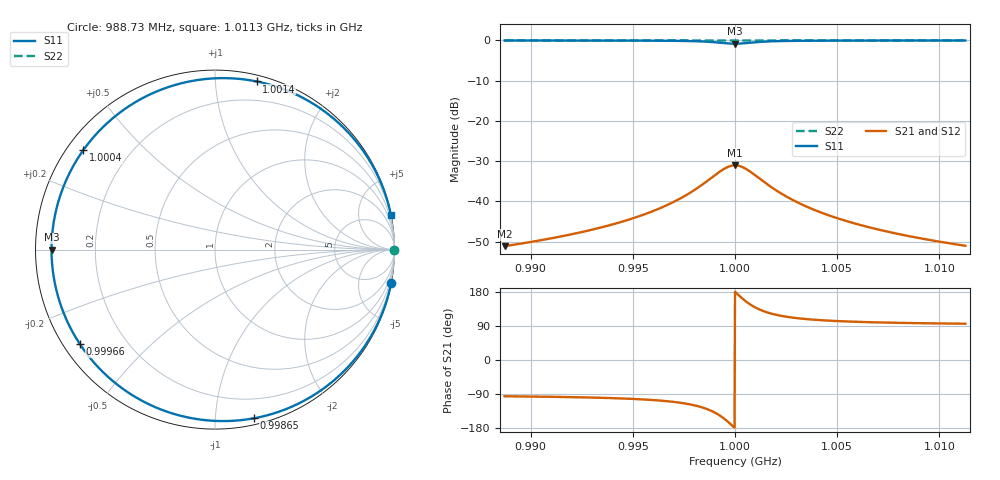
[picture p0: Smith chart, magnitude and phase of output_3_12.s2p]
! File generated for n1 = 3, n2 = 12
! b1 = 21.544347
! b2 = 0.004642
! Q0 = 10000.000000
! f0 = 1000000000.000000
! n = 1001
! rel_span = 10.000000
# Hz S RI R 50
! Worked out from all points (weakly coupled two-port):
!   1001 points, 988.73 MHz to 1.0113 GHz, reference 50 ohm
!   highest |S21| = -31.04 dB at 1 GHz (marker M1); lowest = -51.1 dB at 988.73 MHz (marker M2)
!   lowest |S11| = -0.8 dB at 1 GHz (marker M3), VSWR 21.44, Z = 2.33 + j0 ohm
!   |S11| at or under -10 dB: nowhere
!   |S22| runs from 0.0 to 0.0 dB; largest |S21 - S12| = 0
!   S11 on the Smith chart (normalised r, x): 988.73 MHz: 0, -11; 998.65 MHz: 0.05, -1.26; 999.66 MHz: 0.05, -0.31; 1.0004 GHz: 0.05, +0.33; 1.0014 GHz: 0.05, +1.28; 1.0113 GHz: 0, +10
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9.887255e8  0.9813 -0.1881  -0.000275 -0.00276  -0.000275 -0.00276  1 -4.05e-05
9.924912e8  0.9582 -0.2796  -0.000614 -0.0041  -0.000614 -0.0041  1 -6.02e-05
9.946333e8  0.9196 -0.3835  -0.00118 -0.00563  -0.00118 -0.00563  1 -8.26e-05
9.962569e8  0.8416 -0.5269  -0.00232 -0.00773  -0.00232 -0.00773  1 -0.000114
9.977e8  0.6305 -0.7547  -0.00542 -0.0111  -0.00542 -0.0111  0.9999 -0.000163
9.982186e8  0.4542 -0.8632  -0.00801 -0.0127  -0.00801 -0.0127  0.9999 -0.000186
9.986471e8  0.2175 -0.9397  -0.0115 -0.0138  -0.0115 -0.0138  0.9998 -0.000202
9.992108e8  -0.2821 -0.8979  -0.0188 -0.0132  -0.0188 -0.0132  0.9997 -0.000193
9.994363e8  -0.5285 -0.7645  -0.0224 -0.0112  -0.0224 -0.0112  0.9997 -0.000165
9.996618e8  -0.7531 -0.526  -0.0257 -0.00772  -0.0257 -0.00772  0.9996 -0.000113
1e9  -0.9109 0  -0.028 0  -0.028 0  0.9996 0
1.00018e9  -0.8632 0.2981  -0.0273 0.00438  -0.0273 0.00438  0.9996 6.42e-05
1.000361e9  -0.7335 0.5546  -0.0254 0.00814  -0.0254 0.00814  0.9996 0.000119
1.000564e9  -0.5289 0.7642  -0.0224 0.0112  -0.0224 0.0112  0.9997 0.000165
1.000789e9  -0.2828 0.8976  -0.0188 0.0132  -0.0188 0.0132  0.9997 0.000193
1.001037e9  -0.0354 0.9521  -0.0152 0.014  -0.0152 0.014  0.9998 0.000205
1.001375e9  0.2314 0.937  -0.0113 0.0138  -0.0113 0.0138  0.9998 0.000202
1.001804e9  0.4625 0.8592  -0.00789 0.0126  -0.00789 0.0126  0.9999 0.000185
1.002323e9  0.6349 0.7513  -0.00536 0.011  -0.00536 0.011  0.9999 0.000162
1.003766e9  0.8423 0.5259  -0.00232 0.00772  -0.00232 0.00772  1 0.000113
1.007531e9  0.9578 0.2808  -0.000619 0.00412  -0.000619 0.00412  1 6.05e-05
1.011274e9  0.9809 0.1902  -0.000281 0.00279  -0.000281 0.00279  1 4.1e-05
